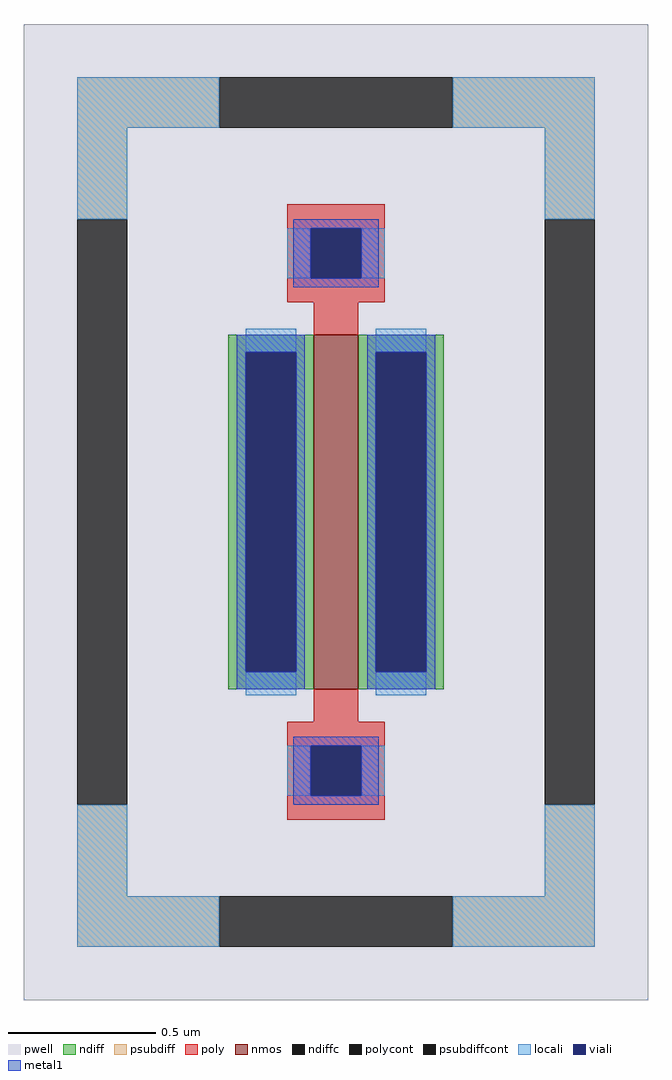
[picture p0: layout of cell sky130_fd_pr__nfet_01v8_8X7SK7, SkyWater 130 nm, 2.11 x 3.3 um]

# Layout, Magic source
magic
tech sky130A
magscale 1 2
<< pwell >>
rect -211 -330 211 330
<< nmos >>
rect -15 -120 15 120
<< ndiff >>
rect -73 108 -15 120
rect -73 -108 -61 108
rect -27 -108 -15 108
rect -73 -120 -15 -108
rect 15 108 73 120
rect 15 -108 27 108
rect 61 -108 73 108
rect 15 -120 73 -108
<< ndiffc >>
rect -61 -108 -27 108
rect 27 -108 61 108
<< psubdiff >>
rect -175 260 -79 294
rect 79 260 175 294
rect -175 198 -141 260
rect 141 198 175 260
rect -175 -260 -141 -198
rect 141 -260 175 -198
rect -175 -294 -79 -260
rect 79 -294 175 -260
<< psubdiffcont >>
rect -79 260 79 294
rect -175 -198 -141 198
rect 141 -198 175 198
rect -79 -294 79 -260
<< poly >>
rect -33 192 33 208
rect -33 158 -17 192
rect 17 158 33 192
rect -33 142 33 158
rect -15 120 15 142
rect -15 -142 15 -120
rect -33 -158 33 -142
rect -33 -192 -17 -158
rect 17 -192 33 -158
rect -33 -208 33 -192
<< polycont >>
rect -17 158 17 192
rect -17 -192 17 -158
<< locali >>
rect -175 260 -79 294
rect 79 260 175 294
rect -175 198 -141 260
rect 141 198 175 260
rect -33 158 -17 192
rect 17 158 33 192
rect -61 108 -27 124
rect -61 -124 -27 -108
rect 27 108 61 124
rect 27 -124 61 -108
rect -33 -192 -17 -158
rect 17 -192 33 -158
rect -175 -260 -141 -198
rect 141 -260 175 -198
rect -175 -294 -79 -260
rect 79 -294 175 -260
<< viali >>
rect -17 158 17 192
rect -61 -108 -27 108
rect 27 -108 61 108
rect -17 -192 17 -158
<< metal1 >>
rect -29 192 29 198
rect -29 158 -17 192
rect 17 158 29 192
rect -29 152 29 158
rect -67 108 -21 120
rect -67 -108 -61 108
rect -27 -108 -21 108
rect -67 -120 -21 -108
rect 21 108 67 120
rect 21 -108 27 108
rect 61 -108 67 108
rect 21 -120 67 -108
rect -29 -158 29 -152
rect -29 -192 -17 -158
rect 17 -192 29 -158
rect -29 -198 29 -192
<< properties >>
string FIXED_BBOX -158 -277 158 277
string gencell sky130_fd_pr__nfet_01v8
string library sky130
string parameters w 1.2 l 0.15 m 1 nf 1 diffcov 100 polycov 100 guard 1 glc 1 grc 1 gtc 1 gbc 1 tbcov 100 rlcov 100 topc 1 botc 1 poverlap 0 doverlap 1 lmin 0.15 wmin 0.42 compatible {sky130_fd_pr__nfet_01v8 sky130_fd_pr__nfet_01v8_lvt  sky130_fd_bs_flash__special_sonosfet_star  sky130_fd_pr__nfet_g5v0d10v5 sky130_fd_pr__nfet_05v0_nvt  sky130_fd_pr__nfet_03v3_nvt} full_metal 1 viasrc 100 viadrn 100 viagate 100 viagb 0 viagr 0 viagl 0 viagt 0
<< end >>
